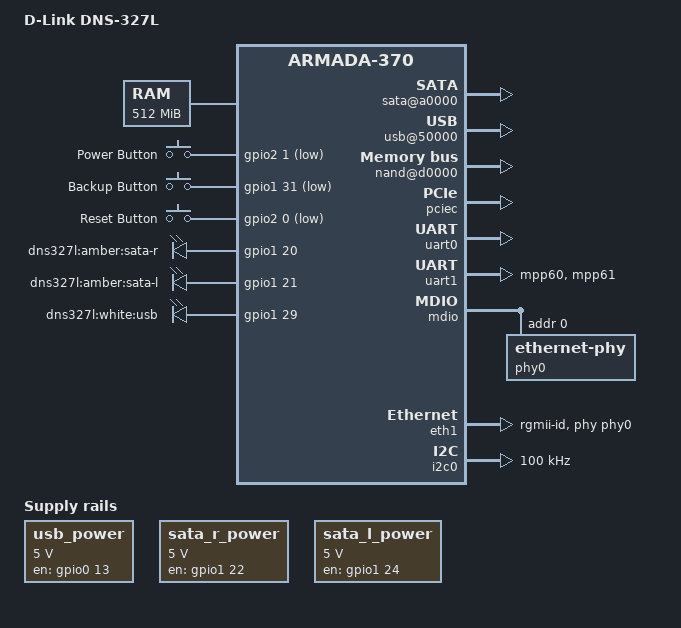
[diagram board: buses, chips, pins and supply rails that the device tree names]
/*
 * Device Tree file for D-Link DNS-327L
 *
 * Copyright (C) 2015, Andrew Andrianov <andrew@ncrmnt.org>
 *
 * This file is dual-licensed: you can use it either under the terms
 * of the GPL or the X11 license, at your option. Note that this dual
 * licensing only applies to this file, and not this project as a
 * whole.
 *
 *  a) This file is free software; you can redistribute it and/or
 *     modify it under the terms of the GNU General Public License as
 *     published by the Free Software Foundation; either version 2 of the
 *     License, or (at your option) any later version.
 *
 *     This file is distributed in the hope that it will be useful,
 *     but WITHOUT ANY WARRANTY; without even the implied warranty of
 *     MERCHANTABILITY or FITNESS FOR A PARTICULAR PURPOSE.  See the
 *     GNU General Public License for more details.
 *
 * Or, alternatively,
 *
 *  b) Permission is hereby granted, free of charge, to any person
 *     obtaining a copy of this software and associated documentation
 *     files (the "Software"), to deal in the Software without
 *     restriction, including without limitation the rights to use,
 *     copy, modify, merge, publish, distribute, sublicense, and/or
 *     sell copies of the Software, and to permit persons to whom the
 *     Software is furnished to do so, subject to the following
 *     conditions:
 *
 *     The above copyright notice and this permission notice shall be
 *     included in all copies or substantial portions of the Software.
 *
 *     THE SOFTWARE IS PROVIDED "AS IS", WITHOUT WARRANTY OF ANY KIND,
 *     EXPRESS OR IMPLIED, INCLUDING BUT NOT LIMITED TO THE WARRANTIES
 *     OF MERCHANTABILITY, FITNESS FOR A PARTICULAR PURPOSE AND
 *     NONINFRINGEMENT. IN NO EVENT SHALL THE AUTHORS OR COPYRIGHT
 *     HOLDERS BE LIABLE FOR ANY CLAIM, DAMAGES OR OTHER LIABILITY,
 *     WHETHER IN AN ACTION OF CONTRACT, TORT OR OTHERWISE, ARISING
 *     FROM, OUT OF OR IN CONNECTION WITH THE SOFTWARE OR THE USE OR
 *     OTHER DEALINGS IN THE SOFTWARE.
 */

/* Remaining unsolved:
 * There's still some unknown device on i2c address 0x13
 */

/dts-v1/;

#include <dt-bindings/input/input.h>
#include <dt-bindings/gpio/gpio.h>
#include "armada-370.dtsi"

/ {
	model = "D-Link DNS-327L";
	compatible = "dlink,dns327l",
		"marvell,armada370",
		"marvell,armada-370-xp";

	chosen {
		stdout-path = &uart0;
	};

	memory@0 {
		device_type = "memory";
		reg = <0x00000000 0x20000000>; /* 512 MiB */
	};

	soc {
		ranges = <MBUS_ID(0xf0, 0x01) 0 0xd0000000 0x100000
			MBUS_ID(0x01, 0xe0) 0 0xfff00000 0x100000
			MBUS_ID(0x09, 0x01) 0 0xf1100000 0x10000>;

		internal-regs {
			sata@a0000 {
				nr-ports = <2>;
				status = "okay";
			};

			usb@50000 {
				status = "okay";
			};

			nand@d0000 {
				status = "okay";
				num-cs = <1>;
				marvell,nand-keep-config;
				marvell,nand-enable-arbiter;
				nand-on-flash-bbt;
				nand-ecc-strength = <4>;
				nand-ecc-step-size = <512>;

				partition@0 {
					label = "u-boot";
					/* 1.0 MiB */
					reg = <0x0000000 0x100000>;
					read-only;
				};

				partition@100000 {
					label = "u-boot-env";
					/* 128 KiB */
					reg = <0x100000 0x20000>;
					read-only;
				};

				partition@120000 {
					label = "uImage";
					/* 7 MiB */
					reg = <0x120000 0x700000>;
				};

				partition@820000 {
					label = "ubifs";
					/* ~ 84 MiB */
					reg = <0x820000 0x54e0000>;
				};

				/* Hardcoded into stock bootloader */
				partition@5d00000 {
					label = "failsafe-uImage";
					/* 5 MiB */
					reg = <0x5d00000 0x500000>;
				};

				partition@6200000 {
					label = "failsafe-fs";
					/* 29 MiB */
					reg = <0x6200000 0x1d00000>;
				};

				partition@7f00000 {
					label = "bbt";
					/* 1 MiB for BBT */
					reg = <0x7f00000 0x100000>;
				};
			};
		};
	};

	gpio-keys {
		compatible = "gpio-keys";
		pinctrl-0 = <
			&backup_button_pin
			&power_button_pin
			&reset_button_pin>;
		pinctrl-names = "default";

		power-button {
			label = "Power Button";
			linux,code = <KEY_POWER>;
			gpios = <&gpio2 1 GPIO_ACTIVE_LOW>;
		};

		backup-button {
			label = "Backup Button";
			linux,code = <KEY_COPY>;
			gpios = <&gpio1 31 GPIO_ACTIVE_LOW>;
		};

		reset-button {
			label = "Reset Button";
			linux,code = <KEY_RESTART>;
			gpios = <&gpio2 0 GPIO_ACTIVE_LOW>;
		};
	};

	gpio-leds {
		compatible = "gpio-leds";
		pinctrl-0 = <
			&sata_l_amber_pin
			&sata_r_amber_pin
			&backup_led_pin
			/* Ensure these are managed by hardware */
			&sata_l_white_pin
			&sata_r_white_pin>;

		pinctrl-names = "default";

		sata-r-amber-pin {
			label = "dns327l:amber:sata-r";
			gpios = <&gpio1 20 GPIO_ACTIVE_HIGH>;
			default-state = "keep";
		};

		sata-l-amber-pin {
			label = "dns327l:amber:sata-l";
			gpios = <&gpio1 21 GPIO_ACTIVE_HIGH>;
			default-state = "keep";
		};

		backup-led-pin {
			label = "dns327l:white:usb";
			gpios = <&gpio1 29 GPIO_ACTIVE_HIGH>;
			default-state = "keep";
		};
	};

	regulators {
		compatible = "simple-bus";
		#address-cells = <1>;
		#size-cells = <0>;

		usb_power: regulator@1 {
			compatible = "regulator-fixed";
			reg = <1>;
			pinctrl-0 = <&xhci_pwr_pin>;
			pinctrl-names = "default";
			regulator-name = "USB3.0 Port Power";
			regulator-min-microvolt = <5000000>;
			regulator-max-microvolt = <5000000>;
			enable-active-high;
			regulator-boot-on;
			regulator-always-on;
			gpio = <&gpio0 13 GPIO_ACTIVE_HIGH>;
		};

		sata_r_power: regulator@2 {
			compatible = "regulator-fixed";
			reg = <2>;
			pinctrl-0 = <&sata_r_pwr_pin>;
			pinctrl-names = "default";
			regulator-name = "SATA-R Power";
			regulator-min-microvolt = <5000000>;
			regulator-max-microvolt = <5000000>;
			startup-delay-us = <2000000>;
			enable-active-high;
			regulator-always-on;
			regulator-boot-on;
			gpio = <&gpio1 22 GPIO_ACTIVE_HIGH>;
		};

		sata_l_power: regulator@3 {
			compatible = "regulator-fixed";
			reg = <3>;
			pinctrl-0 = <&sata_l_pwr_pin>;
			pinctrl-names = "default";
			regulator-name = "SATA-L Power";
			regulator-min-microvolt = <5000000>;
			regulator-max-microvolt = <5000000>;
			startup-delay-us = <4000000>;
			enable-active-high;
			regulator-always-on;
			regulator-boot-on;
			gpio = <&gpio1 24 GPIO_ACTIVE_HIGH>;
		};
	};
};

&pciec {
	status = "okay";

	pcie@1,0 {
		/* Port 0, Lane 0 */
		status = "okay";
	};

	pcie@2,0 {
		/* Port 1, Lane 0 */
		status = "okay";
	};
};

&pinctrl {
	sata_l_white_pin: sata-l-white-pin {
		marvell,pins = "mpp57";
		marvell,function = "sata0";
	};

	sata_r_white_pin: sata-r-white-pin {
		marvell,pins = "mpp55";
		marvell,function = "sata1";
	};

	sata_r_amber_pin: sata-r-amber-pin {
		marvell,pins = "mpp52";
		marvell,function = "gpio";
	};

	sata_l_amber_pin: sata-l-amber-pin {
		marvell,pins = "mpp53";
		marvell,function = "gpio";
	};

	backup_led_pin: backup-led-pin {
		marvell,pins = "mpp61";
		marvell,function = "gpo";
	};

	xhci_pwr_pin: xhci-pwr-pin {
		marvell,pins = "mpp13";
		marvell,function = "gpio";
	};

	sata_r_pwr_pin: sata-r-pwr-pin {
		marvell,pins = "mpp54";
		marvell,function = "gpio";
	};

	sata_l_pwr_pin: sata-l-pwr-pin {
		marvell,pins = "mpp56";
		marvell,function = "gpio";
	};

	uart1_pins: uart1-pins {
		marvell,pins = "mpp60", "mpp61";
		marvell,function = "uart1";
	};

	power_button_pin: power-button-pin {
		marvell,pins = "mpp65";
		marvell,function = "gpio";
	};

	backup_button_pin: backup-button-pin {
		marvell,pins = "mpp63";
		marvell,function = "gpio";
	};

	reset_button_pin: reset-button-pin {
		marvell,pins = "mpp64";
		marvell,function = "gpio";
	};
};

/* Serial console */
&uart0 {
	status = "okay";
};

/* Connected to Weltrend MCU */
&uart1 {
	pinctrl-0 = <&uart1_pins>;
	pinctrl-names = "default";
	status = "okay";
};

&mdio {
	phy0: ethernet-phy@0 { /* Marvell 88E1318 */
		reg = <0>;
		marvell,reg-init = <0x0 0x16 0x0 0x0002>,
				<0x0 0x19 0x0 0x0077>,
				<0x0 0x18 0x0 0x5747>;
	};
};

&eth1 {
	phy = <&phy0>;
	phy-mode = "rgmii-id";
	status = "okay";
};

&i2c0 {
	compatible = "marvell,mv64xxx-i2c";
	clock-frequency = <100000>;
	status = "okay";
};
